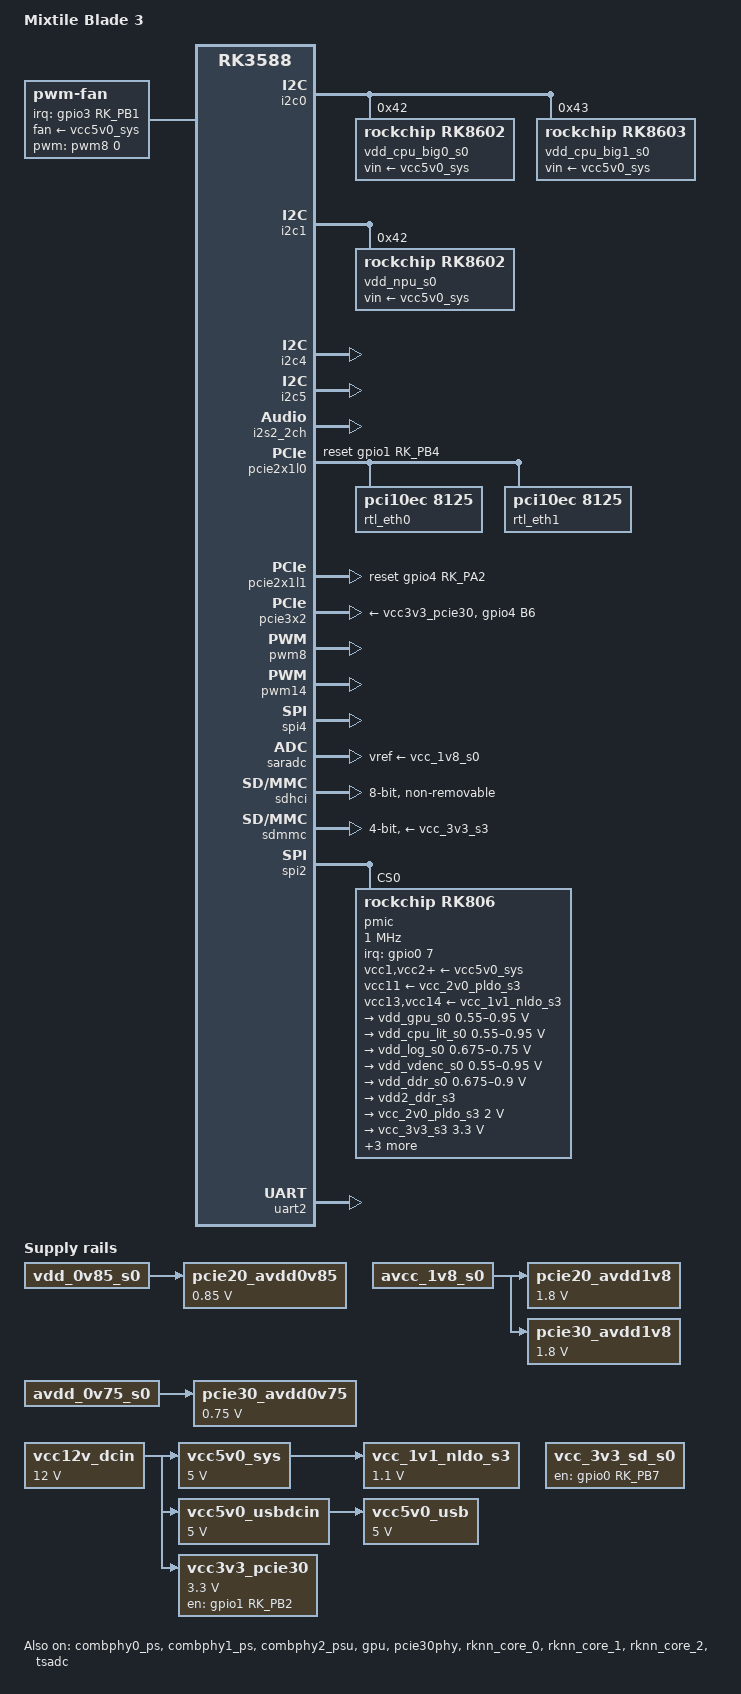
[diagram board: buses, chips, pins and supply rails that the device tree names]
// SPDX-License-Identifier: (GPL-2.0+ OR MIT)

// rpardini, early 2026:
// - Status of this mainline port:
// - Initially started by Joshua Riek (2023?)
// - I then added some PCIe3x4 stuff, but never got around to finishing it
// - Specifically, the 2 FUSB302's are beyond me for now
//   - One of them _powers_ the board. To use with mainline, power the board some other way with 12V, otherwise kaboom.
//     - See sre's talk on this issue; Blade3 should be similar to Rock-5b in this aspect.
// - A challenge has been the PCI2x1 lanes to the miniPCIe and ASM1182e switch
//   - Which by themselves seem to work, but the devices behind them (Switch + RTL8169 NICs) do not get powered
//   - Until one day I tried to describe a (in theory) USB-related power pin, and suddenly both PCIe NICs started working!
// - All that said, the board is really not stable with this; end-users are much better off with vendor kernel for now.
// - Any and all help is appreciated. Those boards are nice, they've 2 FUSB302, and fancy PCIe Endpoint mode stuff.
// - Schematics we have access to are in https://damwold5pt25n.cloudfront.net/blade3/file/Schematic_Blade_3_v1.1.0.pdf
//   - Those clearly lie.

/dts-v1/;

#include <dt-bindings/gpio/gpio.h>
#include <dt-bindings/pinctrl/rockchip.h>
#include "rk3588.dtsi"

/ {
	model = "Mixtile Blade 3";
	compatible = "mixtile,blade3", "rockchip,rk3588";

	aliases {
		mmc0 = &sdhci;
		mmc1 = &sdmmc;
		serial2 = &uart2;
		ethernet0 = &rtl_eth0;
		ethernet1 = &rtl_eth1;
	};

	chosen {
		stdout-path = "serial2:1500000n8";
	};

	fan: pwm-fan {
		compatible = "pwm-fan";
		#cooling-cells = <2>;
		cooling-levels = <0 50 100 150 200 255>;
		pwms = <&pwm8 0 250000 0>; /* aka GPIO3_D0 / PWM8_M2 On 4-pin fan header */
		fan-supply = <&vcc5v0_sys>;
		pulses-per-revolution = <2>;
		interrupt-parent = <&gpio3>;  /* GPIO GPIO3_B1/PWM2_M1 */
		interrupts = <RK_PB1 IRQ_TYPE_EDGE_FALLING>; // On 4-pin fan header
		status = "okay";
	};

	vcc12v_dcin: vcc12v-dcin-regulator {
		compatible = "regulator-fixed";
		regulator-name = "vcc12v_dcin";
		regulator-always-on;
		regulator-boot-on;
		regulator-min-microvolt = <12000000>;
		regulator-max-microvolt = <12000000>;
	};

	vcc5v0_sys: vcc5v0-sys-regulator {
		compatible = "regulator-fixed";
		regulator-name = "vcc5v0_sys";
		regulator-always-on;
		regulator-boot-on;
		regulator-min-microvolt = <5000000>;
		regulator-max-microvolt = <5000000>;
		vin-supply = <&vcc12v_dcin>;
	};

	vcc5v0_usbdcin: vcc5v0-usbdcin-regulator {
		compatible = "regulator-fixed";
		regulator-name = "vcc5v0_usbdcin";
		regulator-always-on;
		regulator-boot-on;
		regulator-min-microvolt = <5000000>;
		regulator-max-microvolt = <5000000>;
		vin-supply = <&vcc12v_dcin>;
	};

	vcc5v0_usb: vcc5v0-usb-regulator {
		compatible = "regulator-fixed";
		regulator-name = "vcc5v0_usb";
		regulator-always-on;
		regulator-boot-on;
		regulator-min-microvolt = <5000000>;
		regulator-max-microvolt = <5000000>;
		vin-supply = <&vcc5v0_usbdcin>;
	};

	pcie20_avdd0v85: pcie20-avdd0v85-regulator {
		compatible = "regulator-fixed";
		regulator-name = "pcie20_avdd0v85";
		regulator-boot-on;
		regulator-always-on;
		regulator-min-microvolt = <850000>;
		regulator-max-microvolt = <850000>;
		vin-supply = <&vdd_0v85_s0>;
	};

	pcie20_avdd1v8: pcie20-avdd1v8-regulator {
		compatible = "regulator-fixed";
		regulator-name = "pcie20_avdd1v8";
		regulator-boot-on;
		regulator-always-on;
		regulator-min-microvolt = <1800000>;
		regulator-max-microvolt = <1800000>;
		vin-supply = <&avcc_1v8_s0>;
	};

	pcie30_avdd0v75: pcie30-avdd0v75-regulator {
		compatible = "regulator-fixed";
		regulator-name = "pcie30_avdd0v75";
		regulator-boot-on;
		regulator-always-on;
		regulator-min-microvolt = <750000>;
		regulator-max-microvolt = <750000>;
		vin-supply = <&avdd_0v75_s0>;
	};

	pcie30_avdd1v8: pcie30-avdd1v8-regulator {
		compatible = "regulator-fixed";
		regulator-name = "pcie30_avdd1v8";
		regulator-boot-on;
		regulator-always-on;
		regulator-min-microvolt = <1800000>;
		regulator-max-microvolt = <1800000>;
		vin-supply = <&avcc_1v8_s0>;
	};

	vcc3v3_pcie30: vcc3v3-pcie30-regulator {
		compatible = "regulator-fixed";
		regulator-name = "vcc3v3_pcie30";
		regulator-min-microvolt = <3300000>;
		regulator-max-microvolt = <3300000>;
		enable-active-high;
		regulator-boot-on;
		regulator-always-on;
		gpios = <&gpio1 RK_PB2 GPIO_ACTIVE_HIGH>;
		startup-delay-us = <5000>;
		vin-supply = <&vcc12v_dcin>;
		pinctrl-names = "default";
		pinctrl-0 = <&pcie3_vcc3v3_en>;
	};

	vcc_3v3_sd_s0: vcc-3v3-sd-s0-regulator {
		compatible = "regulator-fixed";
		regulator-name = "vcc_3v3_sd_s0";
		gpio = <&gpio0 RK_PB7 GPIO_ACTIVE_HIGH>;
		pinctrl-names = "default";
		pinctrl-0 = <&sdmmc_pwr>;
		enable-active-high;
	};

	vcc_1v1_nldo_s3: vcc-1v1-nldo-s3-regulator {
		compatible = "regulator-fixed";
		regulator-name = "vcc_1v1_nldo_s3";
		regulator-always-on;
		regulator-boot-on;
		regulator-min-microvolt = <1100000>;
		regulator-max-microvolt = <1100000>;
		vin-supply = <&vcc5v0_sys>;
	};
};

&combphy0_ps {
	status = "okay";
};

&combphy1_ps {
	status = "okay";
};

&combphy2_psu {
	status = "okay";
};

&cpu_b0 {
	cpu-supply = <&vdd_cpu_big0_s0>;
	mem-supply = <&vdd_cpu_big0_mem_s0>;
};

&cpu_b1 {
	cpu-supply = <&vdd_cpu_big0_s0>;
	mem-supply = <&vdd_cpu_big0_mem_s0>;
};

&cpu_b2 {
	cpu-supply = <&vdd_cpu_big1_s0>;
	mem-supply = <&vdd_cpu_big1_mem_s0>;
};

&cpu_b3 {
	cpu-supply = <&vdd_cpu_big1_s0>;
	mem-supply = <&vdd_cpu_big1_mem_s0>;
};

&cpu_l0 {
	cpu-supply = <&vdd_cpu_lit_s0>;
	mem-supply = <&vdd_cpu_lit_mem_s0>;
};

&cpu_l1 {
	cpu-supply = <&vdd_cpu_lit_s0>;
	mem-supply = <&vdd_cpu_lit_mem_s0>;
};

&cpu_l2 {
	cpu-supply = <&vdd_cpu_lit_s0>;
	mem-supply = <&vdd_cpu_lit_mem_s0>;
};

&cpu_l3 {
	cpu-supply = <&vdd_cpu_lit_s0>;
	mem-supply = <&vdd_cpu_lit_mem_s0>;
};

&gpu {
	mali-supply = <&vdd_gpu_s0>;
	status = "okay";
};

&i2c0 {
	pinctrl-names = "default";
	pinctrl-0 = <&i2c0m2_xfer>;
	status = "okay";

	vdd_cpu_big0_s0: vdd_cpu_big0_mem_s0: regulator@42 {
		compatible = "rockchip,rk8602";
		reg = <0x42>;
		fcs,suspend-voltage-selector = <1>;
		regulator-name = "vdd_cpu_big0_s0";
		regulator-always-on;
		regulator-boot-on;
		regulator-min-microvolt = <550000>;
		regulator-max-microvolt = <1050000>;
		regulator-ramp-delay = <2300>;
		vin-supply = <&vcc5v0_sys>;

		regulator-state-mem {
			regulator-off-in-suspend;
		};
	};

	vdd_cpu_big1_s0: vdd_cpu_big1_mem_s0: regulator@43 {
		compatible = "rockchip,rk8603", "rockchip,rk8602";
		reg = <0x43>;
		fcs,suspend-voltage-selector = <1>;
		regulator-name = "vdd_cpu_big1_s0";
		regulator-always-on;
		regulator-boot-on;
		regulator-min-microvolt = <550000>;
		regulator-max-microvolt = <1050000>;
		regulator-ramp-delay = <2300>;
		vin-supply = <&vcc5v0_sys>;

		regulator-state-mem {
			regulator-off-in-suspend;
		};
	};
};

&i2c1 {
	pinctrl-names = "default";
	pinctrl-0 = <&i2c1m2_xfer>;
	status = "okay";

	vdd_npu_s0: regulator@42 {
		compatible = "rockchip,rk8602";
		reg = <0x42>;
		fcs,suspend-voltage-selector = <1>;
		regulator-name = "vdd_npu_s0";
		regulator-always-on;
		regulator-boot-on;
		regulator-min-microvolt = <550000>;
		regulator-max-microvolt = <950000>;
		regulator-ramp-delay = <2300>;
		vin-supply = <&vcc5v0_sys>;

		regulator-state-mem {
			regulator-off-in-suspend;
		};
	};
};

&i2c4 {
	pinctrl-0 = <&i2c4m0_xfer>;
	status = "okay";
};

/* exposed on the 30-pin connector; shows up as i2c-3 */
&i2c5 {
	pinctrl-0 = <&i2c5m3_xfer>;
	status = "okay";
};

&i2s2_2ch {
	pinctrl-names = "default";
	pinctrl-0 = <&i2s2m1_mclk
				 &i2s2m1_lrck
				 &i2s2m1_sclk
				 &i2s2m1_sdi
				 &i2s2m1_sdo>;
	status = "okay";
};

/* Temperature sensor near the center of the SoC */
&package_thermal {
	polling-delay = <1000>;

	trips {
		package_hot: package_hot {
			hysteresis = <2000>;
			temperature = <40000>; /* 40 celsius */
			type = "active";
		};
	};

	cooling-maps {
		map0 {
			cooling-device = <&fan THERMAL_NO_LIMIT THERMAL_NO_LIMIT>;
			trip = <&package_hot>;
		};
	};
};


&pcie2x1l0 { // combphy1, to ASM1182e
	reset-gpios = <&gpio1 RK_PB4 GPIO_ACTIVE_HIGH>;
	rockchip,init-delay-ms = <100>;
	//pinctrl-names = "default";
	//pinctrl-0 = <&pcie2_0_rst>;
	status = "okay";

	/*
	 * Describe the fixed PCIe topology on this port so the two soldered
	 * RTL8125 2.5GbE controllers get stable ethernet0/ethernet1 aliases.
	 * U-Boot derives ethaddr/eth1addr from the SoC cpuid and writes them
	 * into these nodes via the aliases; without them r8169 falls back to a
	 * random MAC on every boot. Mirrors the enumerated hierarchy (domain
	 * 0002 in lspci):
	 *   20:00.0 RK3588 root port
	 *     21:00.0 ASM1182e switch upstream
	 *       22:03.0 downstream port -> 23:00.0 RTL8125 #0 (enP2p35s0)
	 *       22:07.0 downstream port -> 24:00.0 RTL8125 #1 (enP2p36s0)
	 * reg encodes the config address (bus << 16 | dev << 11 | fn << 8).
	 */
	pcie@0,0 {
		reg = <0x200000 0 0 0 0>;
		#address-cells = <3>;
		#size-cells = <2>;
		ranges;
		device_type = "pci";
		bus-range = <0x20 0x2f>;

		pcie@0,0 { // ASM1182e switch upstream port (21:00.0)
			reg = <0x210000 0 0 0 0>;
			#address-cells = <3>;
			#size-cells = <2>;
			ranges;
			device_type = "pci";
			bus-range = <0x22 0x24>;

			pcie@3,0 { // ASM1182e downstream port (22:03.0)
				reg = <0x221800 0 0 0 0>;
				#address-cells = <3>;
				#size-cells = <2>;
				ranges;
				device_type = "pci";
				bus-range = <0x23 0x23>;

				rtl_eth0: ethernet@0,0 { // RTL8125 #0 (23:00.0)
					compatible = "pci10ec,8125";
					reg = <0x230000 0 0 0 0>;
				};
			};

			pcie@7,0 { // ASM1182e downstream port (22:07.0)
				reg = <0x223800 0 0 0 0>;
				#address-cells = <3>;
				#size-cells = <2>;
				ranges;
				device_type = "pci";
				bus-range = <0x24 0x24>;

				rtl_eth1: ethernet@0,0 { // RTL8125 #1 (24:00.0)
					compatible = "pci10ec,8125";
					reg = <0x240000 0 0 0 0>;
				};
			};
		};
	};
};

&pcie2x1l1 { // combphy2, to miniPCIe socket
	reset-gpios = <&gpio4 RK_PA2 GPIO_ACTIVE_HIGH>;
	rockchip,init-delay-ms = <100>;
	//pinctrl-names = "default";
	//pinctrl-0 = <&pcie2_1_rst>;
	status = "okay";
};

/*
 * PCIe3 PHY split as on the vendor kernel: PHY lanes 0-1 belong to
 * pcie3x4 (fe150000), which is wired to the Cluster Box connector and
 * runs as an endpoint behind the ASM2824 switch; lanes 2-3 belong to
 * pcie3x2 (fe160000), the M.2 NVMe slot. In aggregation mode the NVMe
 * trained at 2.5 GT/s x2 under pcie3x4.
 *
 * The Cluster Box and the blade do not share a reference clock, so
 * the receivers must not use common-refclk mode. The vendor kernel
 * leaves it off on all four lanes (lane CON1 = 0x60), as does the
 * upstream Rock 5B endpoint overlay.
 */
&pcie30phy {
	data-lanes = <1 1 2 2>;
	rockchip,rx-common-refclk-mode = <0 0 0 0>;
	status = "okay";
};

&pcie3x4 {
	status = "disabled";
};

/*
 * Endpoint for openmiop (system extension). Own compatible: the
 * in-kernel EPC driver for rockchip,rk3588-pcie-ep is not part of the
 * Talos kernel, and openmiop drives the controller itself. No reset
 * GPIO: the endpoint must not drive PERST.
 */
&pcie3x4_ep {
	compatible = "openmiop,rk3588-pcie-ep";
	num-lanes = <2>;
	vpcie3v3-supply = <&vcc3v3_pcie30>;
	status = "okay";
};

/*
 * No reset-gpios: in a Cluster Box the M.2 PERST# is the blade's one U.2
 * PERST# (PCIE30X4_PERSTn_M1, GPIO4_B6), an open-drain line shared with
 * the endpoint above and driven by the Cluster Box (Blade 3 schematic
 * v1.2.0, Cluster Box datasheet M.2 pin 50). Driving it high from here
 * fights the Cluster Box; the vendor U-Boot gives pcie3x2 no reset GPIO
 * either. pinctrl stays: it muxes GPIO4_B6 as a GPIO without the default
 * pull-down. When the Cluster Box reboots it holds PERST# and the NVMe
 * resets; blade3-nvme-recover brings it back.
 */
&pcie3x2 {
	vpcie3v3-supply = <&vcc3v3_pcie30>;
	pinctrl-names = "default";
	pinctrl-0 = <&pcie3_rst>;
	status = "okay";
};

/*
 * The vendor kernel runs PCIe without the MMU-600, and so does the
 * upstream endpoint overlay: in endpoint mode the inbound BAR traffic
 * of the RC and the other blades and the eDMA reads carry stream IDs
 * that no Linux device owns, and the SMMU (bypass disabled) aborts
 * them. PCIe devices on this board (NVMe, RTL8125) then DMA without
 * IOMMU translation.
 */
&mmu600_pcie {
	status = "disabled";
};

&pd_gpu {
	domain-supply = <&vdd_gpu_s0>;
};

/*
 * NPU (rocket / rockchip-rknn), as in the image the nodes run today
 * (installer v0.3.2) and as upstream boards with vdd_npu_s0 do.
 */
&pd_npu {
	domain-supply = <&vdd_npu_s0>;
};

&rknn_core_0 {
	npu-supply = <&vdd_npu_s0>;
	sram-supply = <&vdd_npu_s0>;
	status = "okay";
};

&rknn_core_1 {
	npu-supply = <&vdd_npu_s0>;
	sram-supply = <&vdd_npu_s0>;
	status = "okay";
};

&rknn_core_2 {
	npu-supply = <&vdd_npu_s0>;
	sram-supply = <&vdd_npu_s0>;
	status = "okay";
};

&rknn_mmu_0 {
	status = "okay";
};

&rknn_mmu_1 {
	status = "okay";
};

&rknn_mmu_2 {
	status = "okay";
};

&pinctrl {
	sdmmc {
		sdmmc_pwr: sdmmc-pwr {
			rockchip,pins = <0 RK_PB7 RK_FUNC_GPIO &pcfg_pull_up>;
		};
	};

	//pcie2 {
	//	pcie2_0_rst: pcie2-0-rst {
	//		rockchip,pins = <1 RK_PB4 RK_FUNC_GPIO &pcfg_pull_none>;
	//	};

	//	pcie2_1_rst: pcie2-1-rst {
	//		rockchip,pins = <4 RK_PA2 RK_FUNC_GPIO &pcfg_pull_none>;
	//	};
	//};

	pcie3 {
		pcie3_rst: pcie3-rst {
			rockchip,pins = <4 RK_PB6 RK_FUNC_GPIO &pcfg_pull_none>;
		};

		pcie3_vcc3v3_en: pcie3-vcc3v3-en {
			rockchip,pins = <1 RK_PB2 RK_FUNC_GPIO &pcfg_pull_up>;
			// drives a ETA5050V33S2F regulator for 3.3v to VCC3V3_PI6C
		};
	};

	usb {
		vcc5v0_host_en: vcc5v0-host-en {
			rockchip,pins = <4 RK_PB0 RK_FUNC_GPIO &pcfg_pull_none>;
			// Schematics say this drives a ETA6027S2F current limiter enabling VBUS5V0_TYPEC0.
			// But it _must_ somehow power the PCIe switch too, as both RTL8169's come up working with this!
		};
	};

	// GPIO3_C6: 3 RK_PC6 is for power to the minipci 2.0 slot
};

&pwm8 { // 4-pin FAN HEADER, PWM OUTPUT
	pinctrl-0 = <&pwm8m2_pins>;
	status = "okay";
};

&pwm14 {
	pinctrl-0 = <&pwm14m2_pins>;
	status = "okay";
};

&pwm15 {
	pinctrl-0 = <&pwm15m3_pins>;
	status = "disabled";
};

&spi4 {
	pinctrl-names = "default";
	pinctrl-0 = <&spi4m2_cs0 &spi4m2_pins>;
	num-cs = <1>;
	status = "okay";
};

&saradc {
	status = "okay";
	vref-supply = <&vcc_1v8_s0>;
};

&sdhci {
	bus-width = <8>;
	no-sdio;
	no-sd;
	non-removable;
	max-frequency = <200000000>;
	// hs400 causes immediate trouble, hs200 works at around 150mb/s
	// mmc-hs400-1_8v;
	// mmc-hs400-enhanced-strobe;
	mmc-hs200-1_8v;
	status = "okay";
};

&sdmmc {
	max-frequency = <150000000>;
	no-sdio;
	no-mmc;
	bus-width = <4>;
	cap-mmc-highspeed;
	cap-sd-highspeed;
	disable-wp;
	sd-uhs-sdr104;
	vmmc-supply = <&vcc_3v3_s3>;
	vqmmc-supply = <&vccio_sd_s0>;
	status = "okay";
};

&spi2 {
	status = "okay";
	assigned-clocks = <&cru CLK_SPI2>;
	assigned-clock-rates = <200000000>;
	pinctrl-names = "default";
	pinctrl-0 = <&spi2m2_cs0 &spi2m2_pins>;
	num-cs = <1>;

	pmic@0 {
		compatible = "rockchip,rk806";
		spi-max-frequency = <1000000>;
		reg = <0x0>;

		interrupt-parent = <&gpio0>;
		interrupts = <7 IRQ_TYPE_LEVEL_LOW>;

		pinctrl-names = "default";
		pinctrl-0 = <&pmic_pins>, <&rk806_dvs1_null>,
			    <&rk806_dvs2_null>, <&rk806_dvs3_null>;

		vcc1-supply = <&vcc5v0_sys>;
		vcc2-supply = <&vcc5v0_sys>;
		vcc3-supply = <&vcc5v0_sys>;
		vcc4-supply = <&vcc5v0_sys>;
		vcc5-supply = <&vcc5v0_sys>;
		vcc6-supply = <&vcc5v0_sys>;
		vcc7-supply = <&vcc5v0_sys>;
		vcc8-supply = <&vcc5v0_sys>;
		vcc9-supply = <&vcc5v0_sys>;
		vcc10-supply = <&vcc5v0_sys>;
		vcc11-supply = <&vcc_2v0_pldo_s3>;
		vcc12-supply = <&vcc5v0_sys>;
		vcc13-supply = <&vcc_1v1_nldo_s3>;
		vcc14-supply = <&vcc_1v1_nldo_s3>;
		vcca-supply = <&vcc5v0_sys>;

		gpio-controller;
		#gpio-cells = <2>;

		rk806_dvs1_null: dvs1-null-pins {
			pins = "gpio_pwrctrl2";
			function = "pin_fun0";
		};

		rk806_dvs2_null: dvs2-null-pins {
			pins = "gpio_pwrctrl2";
			function = "pin_fun0";
		};

		rk806_dvs3_null: dvs3-null-pins {
			pins = "gpio_pwrctrl3";
			function = "pin_fun0";
		};

		regulators {
			vdd_gpu_s0: vdd_gpu_mem_s0: dcdc-reg1 {
				regulator-boot-on;
				regulator-min-microvolt = <550000>;
				regulator-max-microvolt = <950000>;
				regulator-ramp-delay = <12500>;
				regulator-name = "vdd_gpu_s0";
				regulator-enable-ramp-delay = <400>;

				regulator-state-mem {
					regulator-off-in-suspend;
				};
			};

			vdd_cpu_lit_s0: vdd_cpu_lit_mem_s0: dcdc-reg2 {
				regulator-always-on;
				regulator-boot-on;
				regulator-min-microvolt = <550000>;
				regulator-max-microvolt = <950000>;
				regulator-ramp-delay = <12500>;
				regulator-name = "vdd_cpu_lit_s0";

				regulator-state-mem {
					regulator-off-in-suspend;
				};
			};

			vdd_log_s0: dcdc-reg3 {
				regulator-always-on;
				regulator-boot-on;
				regulator-min-microvolt = <675000>;
				regulator-max-microvolt = <750000>;
				regulator-ramp-delay = <12500>;
				regulator-name = "vdd_log_s0";

				regulator-state-mem {
					regulator-off-in-suspend;
					regulator-suspend-microvolt = <750000>;
				};
			};

			vdd_vdenc_s0: vdd_vdenc_mem_s0: dcdc-reg4 {
				regulator-always-on;
				regulator-boot-on;
				regulator-min-microvolt = <550000>;
				regulator-max-microvolt = <950000>;
				regulator-ramp-delay = <12500>;
				regulator-name = "vdd_vdenc_s0";

				regulator-state-mem {
					regulator-off-in-suspend;
				};
			};

			vdd_ddr_s0: dcdc-reg5 {
				regulator-always-on;
				regulator-boot-on;
				regulator-min-microvolt = <675000>;
				regulator-max-microvolt = <900000>;
				regulator-ramp-delay = <12500>;
				regulator-name = "vdd_ddr_s0";

				regulator-state-mem {
					regulator-off-in-suspend;
					regulator-suspend-microvolt = <850000>;
				};
			};

			vdd2_ddr_s3: dcdc-reg6 {
				regulator-always-on;
				regulator-boot-on;
				regulator-name = "vdd2_ddr_s3";

				regulator-state-mem {
					regulator-on-in-suspend;
				};
			};

			vcc_2v0_pldo_s3: dcdc-reg7 {
				regulator-always-on;
				regulator-boot-on;
				regulator-min-microvolt = <2000000>;
				regulator-max-microvolt = <2000000>;
				regulator-ramp-delay = <12500>;
				regulator-name = "vdd_2v0_pldo_s3";

				regulator-state-mem {
					regulator-on-in-suspend;
					regulator-suspend-microvolt = <2000000>;
				};
			};

			vcc_3v3_s3: dcdc-reg8 {
				regulator-always-on;
				regulator-boot-on;
				regulator-min-microvolt = <3300000>;
				regulator-max-microvolt = <3300000>;
				regulator-name = "vcc_3v3_s3";

				regulator-state-mem {
					regulator-on-in-suspend;
					regulator-suspend-microvolt = <3300000>;
				};
			};

			vddq_ddr_s0: dcdc-reg9 {
				regulator-always-on;
				regulator-boot-on;
				regulator-name = "vddq_ddr_s0";

				regulator-state-mem {
					regulator-off-in-suspend;
				};
			};

			vcc_1v8_s3: dcdc-reg10 {
				regulator-always-on;
				regulator-boot-on;
				regulator-min-microvolt = <1800000>;
				regulator-max-microvolt = <1800000>;
				regulator-name = "vcc_1v8_s3";

				regulator-state-mem {
					regulator-on-in-suspend;
					regulator-suspend-microvolt = <1800000>;
				};
			};

			avcc_1v8_s0: pldo-reg1 {
				regulator-always-on;
				regulator-boot-on;
				regulator-min-microvolt = <1800000>;
				regulator-max-microvolt = <1800000>;
				regulator-name = "avcc_1v8_s0";

				regulator-state-mem {
					regulator-off-in-suspend;
				};
			};

			vcc_1v8_s0: pldo-reg2 {
				regulator-always-on;
				regulator-boot-on;
				regulator-min-microvolt = <1800000>;
				regulator-max-microvolt = <1800000>;
				regulator-name = "vcc_1v8_s0";

				regulator-state-mem {
					regulator-off-in-suspend;
					regulator-suspend-microvolt = <1800000>;
				};
			};

			avdd_1v2_s0: pldo-reg3 {
				regulator-always-on;
				regulator-boot-on;
				regulator-min-microvolt = <1200000>;
				regulator-max-microvolt = <1200000>;
				regulator-name = "avdd_1v2_s0";

				regulator-state-mem {
					regulator-off-in-suspend;
				};
			};

			vcc_3v3_s0: pldo-reg4 {
				regulator-always-on;
				regulator-boot-on;
				regulator-min-microvolt = <3300000>;
				regulator-max-microvolt = <3300000>;
				regulator-ramp-delay = <12500>;
				regulator-name = "vcc_3v3_s0";

				regulator-state-mem {
					regulator-off-in-suspend;
				};
			};

			vccio_sd_s0: pldo-reg5 {
				regulator-always-on;
				regulator-boot-on;
				regulator-min-microvolt = <1800000>;
				regulator-max-microvolt = <3300000>;
				regulator-ramp-delay = <12500>;
				regulator-name = "vccio_sd_s0";

				regulator-state-mem {
					regulator-off-in-suspend;
				};
			};

			pldo6_s3: pldo-reg6 {
				regulator-always-on;
				regulator-boot-on;
				regulator-min-microvolt = <1800000>;
				regulator-max-microvolt = <1800000>;
				regulator-name = "pldo6_s3";

				regulator-state-mem {
					regulator-on-in-suspend;
					regulator-suspend-microvolt = <1800000>;
				};
			};

			vdd_0v75_s3: nldo-reg1 {
				regulator-always-on;
				regulator-boot-on;
				regulator-min-microvolt = <750000>;
				regulator-max-microvolt = <750000>;
				regulator-name = "vdd_0v75_s3";

				regulator-state-mem {
					regulator-on-in-suspend;
					regulator-suspend-microvolt = <750000>;
				};
			};

			vdd_ddr_pll_s0: nldo-reg2 {
				regulator-always-on;
				regulator-boot-on;
				regulator-min-microvolt = <850000>;
				regulator-max-microvolt = <850000>;
				regulator-name = "vdd_ddr_pll_s0";

				regulator-state-mem {
					regulator-off-in-suspend;
					regulator-suspend-microvolt = <850000>;
				};
			};

			avdd_0v75_s0: nldo-reg3 {
				regulator-always-on;
				regulator-boot-on;
				regulator-min-microvolt = <750000>;
				regulator-max-microvolt = <750000>;
				regulator-name = "avdd_0v75_s0";

				regulator-state-mem {
					regulator-off-in-suspend;
				};
			};

			vdd_0v85_s0: nldo-reg4 {
				regulator-always-on;
				regulator-boot-on;
				regulator-min-microvolt = <850000>;
				regulator-max-microvolt = <850000>;
				regulator-name = "vdd_0v85_s0";

				regulator-state-mem {
					regulator-off-in-suspend;
				};
			};

			vdd_0v75_s0: nldo-reg5 {
				regulator-always-on;
				regulator-boot-on;
				regulator-min-microvolt = <750000>;
				regulator-max-microvolt = <750000>;
				regulator-name = "vdd_0v75_s0";

				regulator-state-mem {
					regulator-off-in-suspend;
				};
			};
		};
	};
};

&tsadc {
	status = "okay";
};

&uart2 {
	pinctrl-0 = <&uart2m0_xfer>;
	status = "okay";
};
